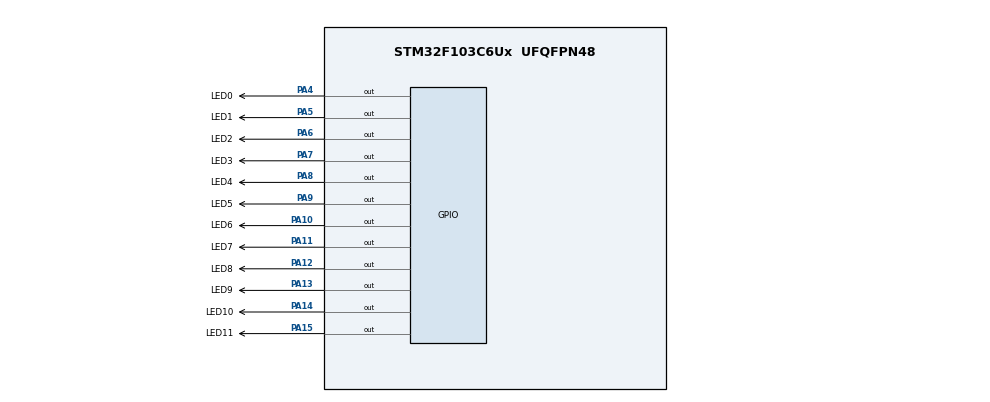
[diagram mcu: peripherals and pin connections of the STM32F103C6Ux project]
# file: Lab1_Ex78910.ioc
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Mcu.Family=STM32F1
Mcu.Name=STM32F103C6Ux
Mcu.Package=UFQFPN48
NVIC.PriorityGroup=NVIC_PRIORITYGROUP_4
NVIC.TIM1_UP_IRQn=true\:15\:0\:false\:false\:true\:false\:true
NVIC.TimeBase=TIM1_UP_IRQn
NVIC.TimeBaseIP=TIM1
PA10.GPIO_Label=LED6
PA10.Signal=GPIO_Output
PA11.GPIO_Label=LED7
PA11.Signal=GPIO_Output
PA12.GPIO_Label=LED8
PA12.Signal=GPIO_Output
PA13.GPIO_Label=LED9
PA13.Signal=GPIO_Output
PA14.GPIO_Label=LED10
PA14.Signal=GPIO_Output
PA15.GPIO_Label=LED11
PA15.Signal=GPIO_Output
PA4.GPIO_Label=LED0
PA4.Signal=GPIO_Output
PA5.GPIO_Label=LED1
PA5.Signal=GPIO_Output
PA6.GPIO_Label=LED2
PA6.Signal=GPIO_Output
PA7.GPIO_Label=LED3
PA7.Signal=GPIO_Output
PA8.GPIO_Label=LED4
PA8.Signal=GPIO_Output
PA9.GPIO_Label=LED5
PA9.Signal=GPIO_Output
ProjectManager.HeapSize=0x200
ProjectManager.StackSize=0x400
ProjectManager.TargetToolchain=STM32CubeIDE
RCC.APB1Freq_Value=8000000
RCC.APB2Freq_Value=8000000
VP_SYS_VS_ND.Mode=No_Debug
VP_SYS_VS_tim1.Mode=TIM1
board=custom

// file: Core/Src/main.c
/* USER CODE BEGIN Header */
/**
  ******************************************************************************
  * @file           : main.c
  * @brief          : Main program body
  ******************************************************************************
  * @attention
  *
  * <h2><center>&copy; Copyright (c) 2024 STMicroelectronics.
  * All rights reserved.</center></h2>
  *
  * This software component is licensed by ST under BSD 3-Clause license,
  * the "License"; You may not use this file except in compliance with the
  * License. You may obtain a copy of the License at:
  *                        opensource.org/licenses/BSD-3-Clause
  *
  ******************************************************************************
  */
/* USER CODE END Header */
#include "main.h"

void SystemClock_Config(void);
static void MX_GPIO_Init(void);
void clearAllClock ()
{
	  HAL_GPIO_WritePin(LED0_GPIO_Port, LED0_Pin, GPIO_PIN_RESET);
	  HAL_GPIO_WritePin(LED1_GPIO_Port, LED1_Pin, GPIO_PIN_RESET);
	  HAL_GPIO_WritePin(LED2_GPIO_Port, LED2_Pin, GPIO_PIN_RESET);
	  HAL_GPIO_WritePin(LED3_GPIO_Port, LED3_Pin, GPIO_PIN_RESET);
	  HAL_GPIO_WritePin(LED4_GPIO_Port, LED4_Pin, GPIO_PIN_RESET);
	  HAL_GPIO_WritePin(LED5_GPIO_Port, LED5_Pin, GPIO_PIN_RESET);
	  HAL_GPIO_WritePin(LED6_GPIO_Port, LED6_Pin, GPIO_PIN_RESET);
	  HAL_GPIO_WritePin(LED7_GPIO_Port, LED7_Pin, GPIO_PIN_RESET);
	  HAL_GPIO_WritePin(LED8_GPIO_Port, LED8_Pin, GPIO_PIN_RESET);
	  HAL_GPIO_WritePin(LED9_GPIO_Port, LED9_Pin, GPIO_PIN_RESET);
	  HAL_GPIO_WritePin(LED10_GPIO_Port, LED10_Pin, GPIO_PIN_RESET);
	  HAL_GPIO_WritePin(LED11_GPIO_Port, LED11_Pin, GPIO_PIN_RESET);
}

void setNumberOnClock(int num)
{
	  switch (num)
	  {
		case 0:
			HAL_GPIO_WritePin(LED0_GPIO_Port, LED0_Pin, GPIO_PIN_SET);
			break;
		case 1:
			HAL_GPIO_WritePin(LED1_GPIO_Port, LED1_Pin, GPIO_PIN_SET);
			break;
		case 2:
			HAL_GPIO_WritePin(LED2_GPIO_Port, LED2_Pin, GPIO_PIN_SET);
			break;
		case 3:
			HAL_GPIO_WritePin(LED3_GPIO_Port, LED3_Pin, GPIO_PIN_SET);
			break;
		case 4:
			HAL_GPIO_WritePin(LED4_GPIO_Port, LED4_Pin, GPIO_PIN_SET);
			break;
		case 5:
			HAL_GPIO_WritePin(LED5_GPIO_Port, LED5_Pin, GPIO_PIN_SET);
			break;
		case 6:
			HAL_GPIO_WritePin(LED6_GPIO_Port, LED6_Pin, GPIO_PIN_SET);
			break;
		case 7:
			HAL_GPIO_WritePin(LED7_GPIO_Port, LED7_Pin, GPIO_PIN_SET);
			break;
		case 8:
			HAL_GPIO_WritePin(LED8_GPIO_Port, LED8_Pin, GPIO_PIN_SET);
			break;
		case 9:
			HAL_GPIO_WritePin(LED9_GPIO_Port, LED9_Pin, GPIO_PIN_SET);
			break;
		case 10:
			HAL_GPIO_WritePin(LED10_GPIO_Port, LED10_Pin, GPIO_PIN_SET);
			break;
		case 11:
			HAL_GPIO_WritePin(LED11_GPIO_Port, LED11_Pin, GPIO_PIN_SET);
			break;
		default:
			break;
	  }
}

void clearNumberOnClock(int num)
{
	  switch (num)
	  {
		case 0:
			HAL_GPIO_WritePin(LED0_GPIO_Port, LED0_Pin, GPIO_PIN_RESET);
			break;
		case 1:
			HAL_GPIO_WritePin(LED1_GPIO_Port, LED1_Pin, GPIO_PIN_RESET);
			break;
		case 2:
			HAL_GPIO_WritePin(LED2_GPIO_Port, LED2_Pin, GPIO_PIN_RESET);
			break;
		case 3:
			HAL_GPIO_WritePin(LED3_GPIO_Port, LED3_Pin, GPIO_PIN_RESET);
			break;
		case 4:
			HAL_GPIO_WritePin(LED4_GPIO_Port, LED4_Pin, GPIO_PIN_RESET);
			break;
		case 5:
			HAL_GPIO_WritePin(LED5_GPIO_Port, LED5_Pin, GPIO_PIN_RESET);
			break;
		case 6:
			HAL_GPIO_WritePin(LED6_GPIO_Port, LED6_Pin, GPIO_PIN_RESET);
			break;
		case 7:
			HAL_GPIO_WritePin(LED7_GPIO_Port, LED7_Pin, GPIO_PIN_RESET);
			break;
		case 8:
			HAL_GPIO_WritePin(LED8_GPIO_Port, LED8_Pin, GPIO_PIN_RESET);
			break;
		case 9:
			HAL_GPIO_WritePin(LED9_GPIO_Port, LED9_Pin, GPIO_PIN_RESET);
			break;
		case 10:
			HAL_GPIO_WritePin(LED10_GPIO_Port, LED10_Pin, GPIO_PIN_RESET);
			break;
		case 11:
			HAL_GPIO_WritePin(LED11_GPIO_Port, LED11_Pin, GPIO_PIN_RESET);
			break;
		default:
			break;
	  }
}

int main(void)
{

  /* MCU Configuration--------------------------------------------------------*/

  /* Reset of all peripherals, Initializes the Flash interface and the Systick. */
  HAL_Init();

  /* Configure the system clock */
  SystemClock_Config();

  /* Initialize all configured peripherals */
  MX_GPIO_Init();

  /* Infinite loop */
  /* USER CODE BEGIN WHILE */
  int sec=0;
  int min=0;
  int hour=0;
  while (1)
  {
	  clearAllClock ();

	  setNumberOnClock(sec/5);
	  setNumberOnClock(min/5);
	  setNumberOnClock(hour);

	  sec++;
	  if (sec>=60)
	  {
		  sec=0;
		  min++;
	  }
	  if (min>=60)
	  {
		  min=0;
		  hour++;
	  }
	  if (hour>=12)
	  {
		  hour=0;
	  }
	  HAL_Delay(1000);
    /* USER CODE END WHILE */

  }
}

void SystemClock_Config(void)
{
  RCC_OscInitTypeDef RCC_OscInitStruct = {0};
  RCC_ClkInitTypeDef RCC_ClkInitStruct = {0};

  /** Initializes the RCC Oscillators according to the specified parameters
  * in the RCC_OscInitTypeDef structure.
  */
  RCC_OscInitStruct.OscillatorType = RCC_OSCILLATORTYPE_HSI;
  RCC_OscInitStruct.HSIState = RCC_HSI_ON;
  RCC_OscInitStruct.HSICalibrationValue = RCC_HSICALIBRATION_DEFAULT;
  RCC_OscInitStruct.PLL.PLLState = RCC_PLL_NONE;
  if (HAL_RCC_OscConfig(&RCC_OscInitStruct) != HAL_OK)
  {
    Error_Handler();
  }
  /** Initializes the CPU, AHB and APB buses clocks
  */
  RCC_ClkInitStruct.ClockType = RCC_CLOCKTYPE_HCLK|RCC_CLOCKTYPE_SYSCLK
                              |RCC_CLOCKTYPE_PCLK1|RCC_CLOCKTYPE_PCLK2;
  RCC_ClkInitStruct.SYSCLKSource = RCC_SYSCLKSOURCE_HSI;
  RCC_ClkInitStruct.AHBCLKDivider = RCC_SYSCLK_DIV1;
  RCC_ClkInitStruct.APB1CLKDivider = RCC_HCLK_DIV1;
  RCC_ClkInitStruct.APB2CLKDivider = RCC_HCLK_DIV1;

  if (HAL_RCC_ClockConfig(&RCC_ClkInitStruct, FLASH_LATENCY_0) != HAL_OK)
  {
    Error_Handler();
  }
}

static void MX_GPIO_Init(void)
{
  GPIO_InitTypeDef GPIO_InitStruct = {0};

  /* GPIO Ports Clock Enable */
  __HAL_RCC_GPIOA_CLK_ENABLE();

  /*Configure GPIO pin Output Level */
  HAL_GPIO_WritePin(GPIOA, LED0_Pin|LED1_Pin|LED2_Pin|LED3_Pin
                          |LED4_Pin|LED5_Pin|LED6_Pin|LED7_Pin
                          |LED8_Pin|LED9_Pin|LED10_Pin|LED11_Pin, GPIO_PIN_RESET);

  /*Configure GPIO pins : LED0_Pin LED1_Pin LED2_Pin LED3_Pin
                           LED4_Pin LED5_Pin LED6_Pin LED7_Pin
                           LED8_Pin LED9_Pin LED10_Pin LED11_Pin */
  GPIO_InitStruct.Pin = LED0_Pin|LED1_Pin|LED2_Pin|LED3_Pin
                          |LED4_Pin|LED5_Pin|LED6_Pin|LED7_Pin
                          |LED8_Pin|LED9_Pin|LED10_Pin|LED11_Pin;
  GPIO_InitStruct.Mode = GPIO_MODE_OUTPUT_PP;
  GPIO_InitStruct.Pull = GPIO_NOPULL;
  GPIO_InitStruct.Speed = GPIO_SPEED_FREQ_LOW;
  HAL_GPIO_Init(GPIOA, &GPIO_InitStruct);

}

void HAL_TIM_PeriodElapsedCallback(TIM_HandleTypeDef *htim)
{
  if (htim->Instance == TIM1) {
    HAL_IncTick();
  }
}

void Error_Handler(void)
{
  __disable_irq();
  while (1)
  {
  }
}

/************************ (C) COPYRIGHT STMicroelectronics *****END OF FILE****/
